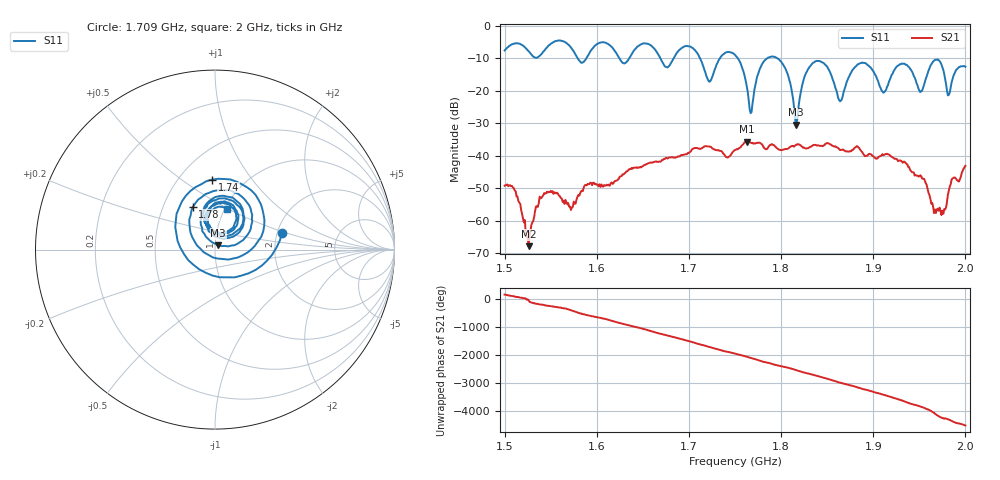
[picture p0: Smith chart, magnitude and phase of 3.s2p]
! NanoVNA-App by SYSJOINT et al v1.1.209 (+OD18)
! Date: 2026-01-21 14:25:21
! Start: 1,5GHz Stop: 2GHz Points: 501
! S-Parameter data: F S11 S21 S12 S22
# Hz S RI R 50
!  Frequency  S11_Real  S11_Imag  S21_Real  S21_Imag  S12_Real  S12_Imag  S22_Real  S22_Imag
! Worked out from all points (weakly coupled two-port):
!   501 points, 1.5 GHz to 2 GHz, reference 50 ohm
!   highest |S21| = -35.59 dB at 1.763 GHz (marker M1); lowest = -67.8 dB at 1.526 GHz (marker M2)
!   lowest |S11| = -30.4 dB at 1.816 GHz (marker M3), VSWR 1.06, Z = 51.8 + j2.47 ohm
!   |S11| at or under -10 dB: 1.712 GHz to 1.733 GHz (21.35 MHz wide, 1.24 % of centre); 1.753 GHz to 1.785 GHz (31.41 MHz wide, 1.78 % of centre); 1.796 GHz to end of sweep (the widest 3 of 6)
!   S12 and S22 are empty: the file has one direction only
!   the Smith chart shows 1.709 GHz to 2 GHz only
!   S11 on the Smith chart (normalised r, x): 1.709 GHz: 2.12, +0.45; 1.74 GHz: 0.71, +0.66; 1.78 GHz: 0.70, +0.36; 2 GHz: 1.02, +0.49
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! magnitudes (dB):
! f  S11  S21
! 1.5 GHz  -7.5  -49.2
! 1.526 GHz  -7.7  -67.8
! 1.544 GHz  -7.2  -51.6
! 1.584 GHz  -11.3  -50.7
! 1.605 GHz  -5.1  -48.8
! 1.667 GHz  -8.8  -41.9
! 1.709 GHz  -8.3  -37.6
! 1.722 GHz  -17.1  -37.2
! 1.74 GHz  -8.2  -40.3
! 1.75 GHz  -8.9  -38.2
! 1.763 GHz  -19.1  -35.6
! 1.768 GHz  -26.5  -36.1
! 1.78 GHz  -11.5  -36.7
! 1.802 GHz  -11.7  -38.1
! 1.816 GHz  -30.4  -36.7
! 1.834 GHz  -11.5  -36.8
! 1.864 GHz  -23.2  -38.2
! 1.886 GHz  -11.4  -38.2
! 1.917 GHz  -17.2  -39.6
! 1.975 GHz  -12.6  -56.9
! 1.982 GHz  -21.2  -50.7
! 2 GHz  -12.5  -43.1
